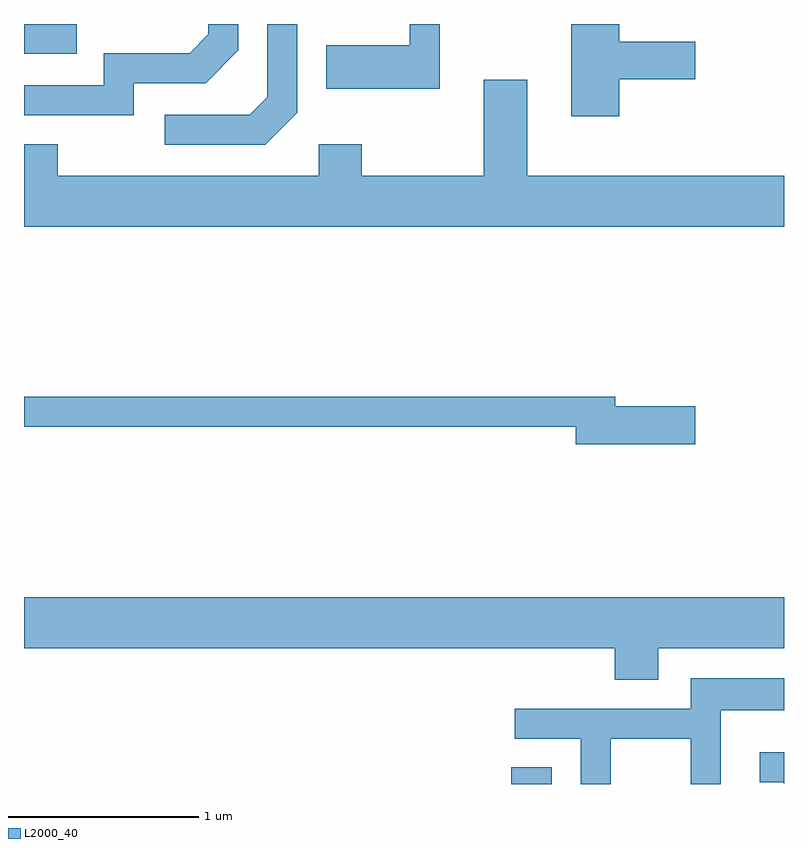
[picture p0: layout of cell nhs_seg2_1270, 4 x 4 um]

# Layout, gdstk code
import gdstk
lib = gdstk.Library(unit=1e-6, precision=1e-09)
def R(c, l, rs):  # rectangles x0, y0, x1, y1
    for r in rs: c.add(gdstk.rectangle(r[:2], r[2:], *l))
def P(c, l, *ps):  # polygons
    for p in ps: c.add(gdstk.Polygon(p, *l))
L2000_40 = (2000, 40)

nhs_seg2_1270 = lib.new_cell('nhs_seg2_1270')
R(nhs_seg2_1270, L2000_40, [(224.176,1069.802,224.389,1069.889), (221.611,1073.646,221.888,1073.802)])
P(nhs_seg2_1270, L2000_40, [(224.744,1073.511),(225.144,1073.511),(225.144,1073.709),(224.744,1073.709),(224.744,1073.802),(224.491,1073.802),(224.491,1073.316),(224.744,1073.316)],
  [(223.799,1073.802),(223.641,1073.802),(223.641,1073.689),(223.201,1073.689),(223.201,1073.461),(223.799,1073.461)],
  [(222.189,1073.491),(222.567,1073.491),(222.739,1073.664),(222.739,1073.802),(222.581,1073.802),(222.581,1073.747),(222.484,1073.649),(222.031,1073.649),(222.031,1073.479),(221.611,1073.479),(221.611,1073.321),(222.189,1073.321)],
  [(223.049,1073.334),(223.049,1073.802),(222.891,1073.802),(222.891,1073.417),(222.799,1073.324),(222.353,1073.324),(222.353,1073.166),(222.882,1073.166)],
  [(225.611,1073.004),(224.259,1073.004),(224.259,1073.509),(224.031,1073.509),(224.031,1073.004),(223.389,1073.004),(223.389,1073.169),(223.161,1073.169),(223.161,1073.004),(221.789,1073.004),(221.789,1073.169),(221.611,1073.169),(221.611,1072.736),(225.611,1072.736)],
  [(225.144,1071.789),(224.724,1071.789),(224.724,1071.839),(221.611,1071.839),(221.611,1071.681),(224.516,1071.681),(224.516,1071.591),(225.144,1071.591)],
  [(224.949,1070.516),(225.611,1070.516),(225.611,1070.784),(221.611,1070.784),(221.611,1070.516),(224.721,1070.516),(224.721,1070.351),(224.949,1070.351)],
  [(224.699,1070.041),(225.121,1070.041),(225.121,1069.802),(225.279,1069.802),(225.279,1070.191),(225.611,1070.191),(225.611,1070.359),(225.121,1070.359),(225.121,1070.199),(224.193,1070.199),(224.193,1070.041),(224.541,1070.041),(224.541,1069.802),(224.699,1069.802)],
  [(225.611,1069.969),(225.483,1069.969),(225.483,1069.811),(225.604,1069.811),(225.611,1069.804)])

lib.write_gds('nhs_seg2_1270.gds')
